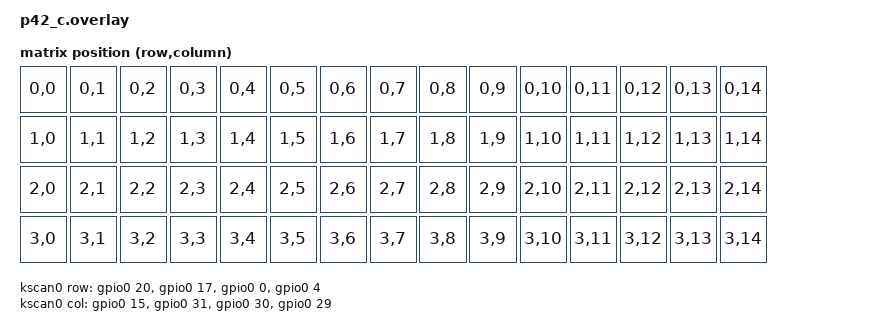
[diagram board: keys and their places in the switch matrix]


#include "p42.dtsi"



&kscan0 {
    diode-direction = "col2row";
    col-gpios
        = <&gpio0 15 GPIO_ACTIVE_HIGH>
        , <&gpio0 31 GPIO_ACTIVE_HIGH>
        , <&gpio0 30 GPIO_ACTIVE_HIGH>
        , <&gpio0 29 GPIO_ACTIVE_HIGH>
        ;

      row-gpios = <
        &gpio0 20 (GPIO_PULL_DOWN | GPIO_ACTIVE_HIGH)
        &gpio0 17 (GPIO_PULL_DOWN | GPIO_ACTIVE_HIGH)
        &gpio0 0 (GPIO_PULL_DOWN | GPIO_ACTIVE_HIGH)
        &gpio0 4 (GPIO_PULL_DOWN | GPIO_ACTIVE_HIGH)
        >;
};


/ {
    chosen {
        zmk,kscan = &kscan0;
        zmk,matrix-transform = &default_transform1;
    };

    default_transform1: matrix_transform {
        compatible = "zmk,matrix-transform";
        rows = <4>;           // 假设4行，如果不是请调整
        columns = <15>;       // 左手11 + 右手4 = 15列
        map = <
            // 左手半幅 (col 0-10) → position 0-43
            RC(0,0)  RC(0,1)  RC(0,2)  RC(0,3)  RC(0,4)  RC(0,5)  RC(0,6)  RC(0,7)  RC(0,8)  RC(0,9)  RC(0,10) RC(0,11) RC(0,12) RC(0,13) RC(0,14)
            RC(1,0)  RC(1,1)  RC(1,2)  RC(1,3)  RC(1,4)  RC(1,5)  RC(1,6)  RC(1,7)  RC(1,8)  RC(1,9)  RC(1,10) RC(1,11) RC(1,12) RC(1,13) RC(1,14)
            RC(2,0)  RC(2,1)  RC(2,2)  RC(2,3)  RC(2,4)  RC(2,5)  RC(2,6)  RC(2,7)  RC(2,8)  RC(2,9)  RC(2,10) RC(2,11) RC(2,12) RC(2,13) RC(2,14)
            RC(3,0)  RC(3,1)  RC(3,2)  RC(3,3)  RC(3,4)  RC(3,5)  RC(3,6)  RC(3,7)  RC(3,8)  RC(3,9)  RC(3,10) RC(3,11) RC(3,12) RC(3,13) RC(3,14)
            // 右手半幅 (col 11-14) → position 44-59

        >;
    };
};

/ {
    lfclk: lfclk {
        compatible = "fixed-clock";
        clock-frequency = <32768>;
        #clock-cells = <0>;
        status = "okay";
    };
};


#include <dt-bindings/led/led.h>

&pinctrl {
    spi2_default: spi2_default {
        group1 {
            psels = <
                NRF_PSEL(SPIM_SCK, 0, 6)
                NRF_PSEL(SPIM_MOSI, 0, 5)
            >;

        };
    };

    spi2_sleep: spi2_sleep {
        group1 {
             psels = <
                NRF_PSEL(SPIM_SCK, 0, 6)
                NRF_PSEL(SPIM_MOSI, 0, 5)
            >;
            low-power-enable;
        };
    };
};

&spi2 {
    compatible = "nordic,nrf-spim";
    status = "okay";

    pinctrl-0 = <&spi2_default>;
    pinctrl-1 = <&spi2_sleep>;
    pinctrl-names = "default", "sleep";

    led_strip: ws2812@0 {
        compatible = "worldsemi,ws2812-spi";

               reg = <0>; /* ignored, but necessary for SPI bindings */
        spi-max-frequency = <4000000>;

        /* WS2812 */
        chain-length = <42>; /* number of LEDs */
        spi-one-frame = <0x70>;
        spi-zero-frame = <0x40>;
        color-mapping = <LED_COLOR_ID_GREEN
                         LED_COLOR_ID_RED
                         LED_COLOR_ID_BLUE>;
    };
};


/
{
    chosen {
        // zmk,ext-power = &ex2;
        zmk,underglow = &led_strip;
    };

    EXT_POWER {
        compatible = "zmk,ext-power-generic";
        control-gpios = <&gpio0 3 GPIO_ACTIVE_HIGH>;
        init-delay-ms = <50>;
    };
};

/ {
    leds {
        compatible = "gpio-leds";

        led0: led_0 {
            gpios = <&gpio1 9 GPIO_ACTIVE_HIGH>;
        };
        led1: led_1 {
            gpios = <&gpio0 11 GPIO_ACTIVE_HIGH>;
        };
        led2: led_2 {
            gpios = <&gpio0 15 GPIO_ACTIVE_HIGH>;
        };
    };

    aliases {
        led0 = &led0;
        led1 = &led1;
        led2 = &led2;
    };
};



#include "donki36__esb_addr.dtsi"


/ {
    soc {
        pin-controller {
            #binding-cells = <0>;
        };
    };
};
